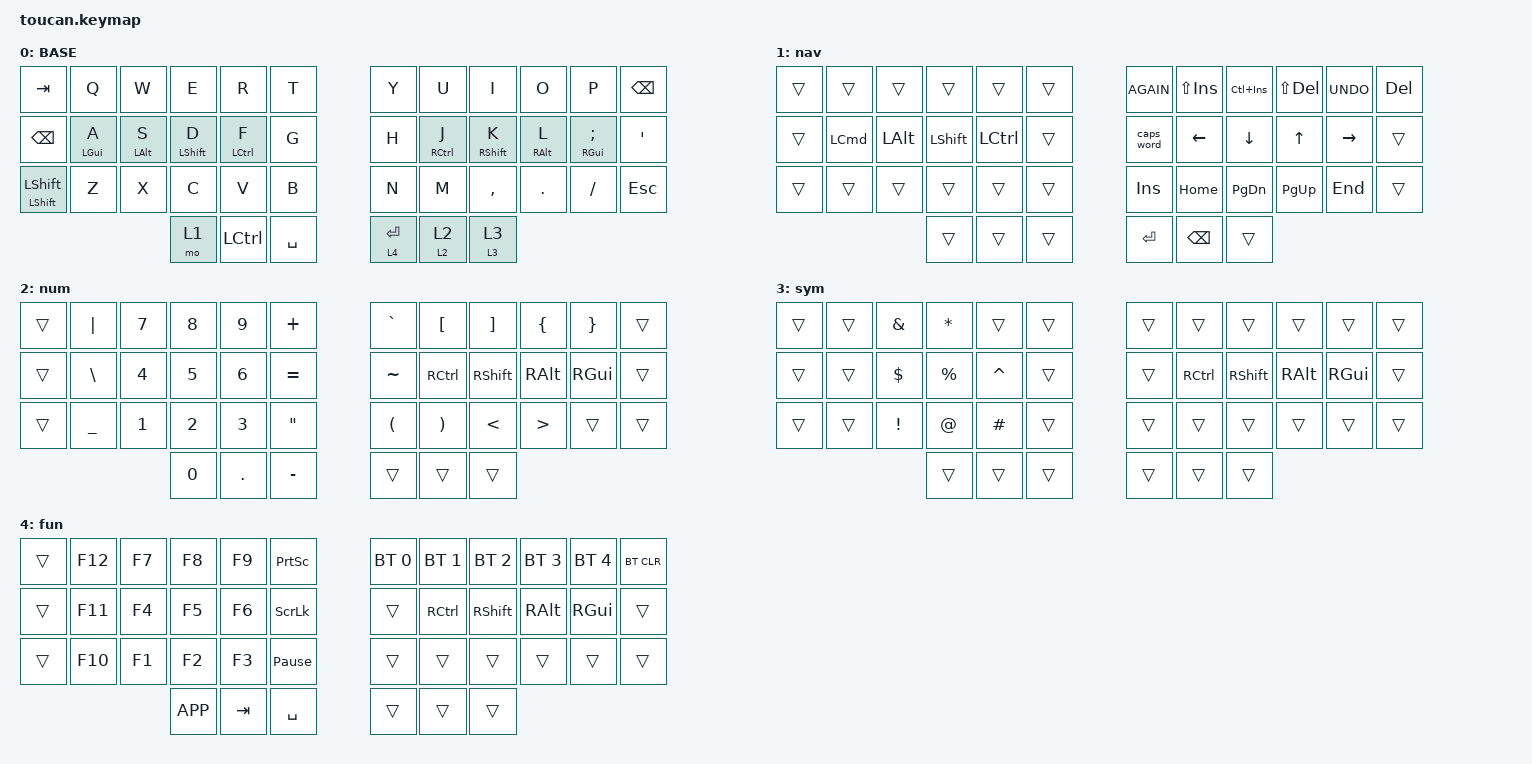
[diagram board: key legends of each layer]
#include <behaviors.dtsi>
#include <dt-bindings/zmk/bt.h>
#include <dt-bindings/zmk/keys.h>

#define BASE 0
#define NAV  1
#define SYM  2
#define ADJ  3

/ {
    conditional_layers { compatible = "zmk,conditional-layers"; };

    behaviors {
        left_home_mt: hml {
            compatible = "zmk,behavior-hold-tap";
            label = "hml";
            #binding-cells = <2>;
            tapping-term-ms = <400>;
            require-prior-idle-ms = <150>;
            flavor = "balanced";
            bindings = <&kp>, <&kp>;

            quick-tap-ms = <175>;
            hold-trigger-key-positions = <6 7 8 9 10 11 18 19 20 21 22 23 30 31 32 33 34 35 39 40 41 36 37 38>;
            hold-trigger-on-release;
        };

        right_home_mt: hmr {
            compatible = "zmk,behavior-hold-tap";
            label = "hmr";
            #binding-cells = <2>;
            tapping-term-ms = <400>;
            require-prior-idle-ms = <150>;
            flavor = "balanced";
            bindings = <&kp>, <&kp>;

            quick-tap-ms = <175>;
            hold-trigger-key-positions = <0 1 2 3 4 5 12 13 14 15 16 17 24 25 26 27 28 29 36 37 38 39 40 41>;
            hold-trigger-on-release;
        };

        skq: skq {
            compatible = "zmk,behavior-sticky-key";
            label = "SKQ";
            bindings = <&kp>;
            #binding-cells = <1>;
            release-after-ms = <1000>;
            quick-release;
        };

        hold_or_skq: hold_or_skq {
            compatible = "zmk,behavior-hold-tap";
            label = "HOLD_OR_SKQ";
            bindings = <&kp>, <&skq>;

            #binding-cells = <2>;
            tapping-term-ms = <500>;
            flavor = "tap-preferred";
            hold-trigger-key-positions = <1 2 3 4 5 13 14 15 16 17 25 26 27 28 29 6 7 8 9 10 18 19 20 21 22 30 31 32 33 34>;
        };

        hold_or_sl: hold_or_sl {
            compatible = "zmk,behavior-hold-tap";
            label = "HOLD_OR_SL";
            bindings = <&mo>, <&sl>;

            #binding-cells = <2>;
            tapping-term-ms = <500>;
            hold-while-undecided;
            hold-trigger-key-positions = <1 2 3 4 5 13 14 15 16 17 25 26 27 28 29 36 37 38>;
        };
    };

    combos { compatible = "zmk,combos"; };

    keymap {
        compatible = "zmk,keymap";

        base {
            display-name = "BASE";
            bindings = <
&kp TAB                        &kp Q                     &kp W                     &kp E                       &kp R                         &kp T      &kp Y        &kp U                           &kp I                         &kp O                       &kp P                               &kp BSPC
&kp BACKSPACE                  &left_home_mt LEFT_GUI A  &left_home_mt LEFT_ALT S  &left_home_mt LEFT_SHIFT D  &left_home_mt LEFT_CONTROL F  &kp G      &kp H        &right_home_mt RIGHT_CONTROL J  &right_home_mt RIGHT_SHIFT K  &right_home_mt RIGHT_ALT L  &right_home_mt RIGHT_GUI SEMICOLON  &kp SQT
&hold_or_skq LSHFT LEFT_SHIFT  &kp Z                     &kp X                     &kp C                       &kp V                         &kp B      &kp N        &kp M                           &kp COMMA                     &kp DOT                     &kp FSLH                            &kp ESC
                                                                                   &mo 1                       &kp LCTRL                     &kp SPACE  &lt 4 ENTER  &hold_or_sl 2 2                 &hold_or_sl 3 3
            >;
        };

        nav {
            bindings = <
&trans  &trans    &trans        &trans      &trans     &trans  &kp K_AGAIN  &kp LS(INS)    &kp LC(INS)    &kp LS(DEL)  &kp K_UNDO  &kp DELETE
&trans  &kp LCMD  &kp LEFT_ALT  &kp LSHIFT  &kp LCTRL  &trans  &caps_word   &kp LEFT       &kp DOWN       &kp UP       &kp RIGHT   &trans
&trans  &trans    &trans        &trans      &trans     &trans  &kp INS      &kp HOME       &kp PAGE_DOWN  &kp PAGE_UP  &kp END     &trans
                                &trans      &trans     &trans  &kp ENTER    &kp BACKSPACE  &trans
            >;

            label = "nav";
        };

        num {
            bindings = <
&trans  &kp PIPE        &kp N7  &kp N8  &kp N9   &kp PLUS   &kp GRAVE             &kp LBKT               &kp RBKT       &kp LEFT_BRACE  &kp RIGHT_BRACE  &trans
&trans  &kp BACKSLASH   &kp N4  &kp N5  &kp N6   &kp EQUAL  &kp TILDE             &kp RCTRL              &kp RSHFT      &kp RALT        &kp RGUI         &trans
&trans  &kp UNDERSCORE  &kp N1  &kp N2  &kp N3   &kp DQT    &kp LEFT_PARENTHESIS  &kp RIGHT_PARENTHESIS  &kp LESS_THAN  &kp GT          &trans           &trans
                                &kp N0  &kp DOT  &kp MINUS  &trans                &trans                 &trans
            >;

            label = "num";
        };

        sym {
            bindings = <
&trans  &trans  &kp AMPS         &kp ASTRK    &trans     &trans  &trans  &trans     &trans     &trans    &trans    &trans
&trans  &trans  &kp DOLLAR       &kp PERCENT  &kp CARET  &trans  &trans  &kp RCTRL  &kp RSHFT  &kp RALT  &kp RGUI  &trans
&trans  &trans  &kp EXCLAMATION  &kp AT       &kp HASH   &trans  &trans  &trans     &trans     &trans    &trans    &trans
                                 &trans       &trans     &trans  &trans  &trans     &trans
            >;

            label = "sym";
        };

        fun {
            bindings = <
&trans  &kp F12  &kp F7  &kp F8     &kp F9   &kp PSCRN        &bt BT_SEL 0  &bt BT_SEL 1  &bt BT_SEL 2  &bt BT_SEL 3  &bt BT_SEL 4  &bt BT_CLR
&trans  &kp F11  &kp F4  &kp F5     &kp F6   &kp SCROLLLOCK   &trans        &kp RCTRL     &kp RSHFT     &kp RALT      &kp RGUI      &trans
&trans  &kp F10  &kp F1  &kp F2     &kp F3   &kp PAUSE_BREAK  &trans        &trans        &trans        &trans        &trans        &trans
                         &kp K_APP  &kp TAB  &kp SPACE        &trans        &trans        &trans
            >;

            label = "fun";
        };
    };
};
